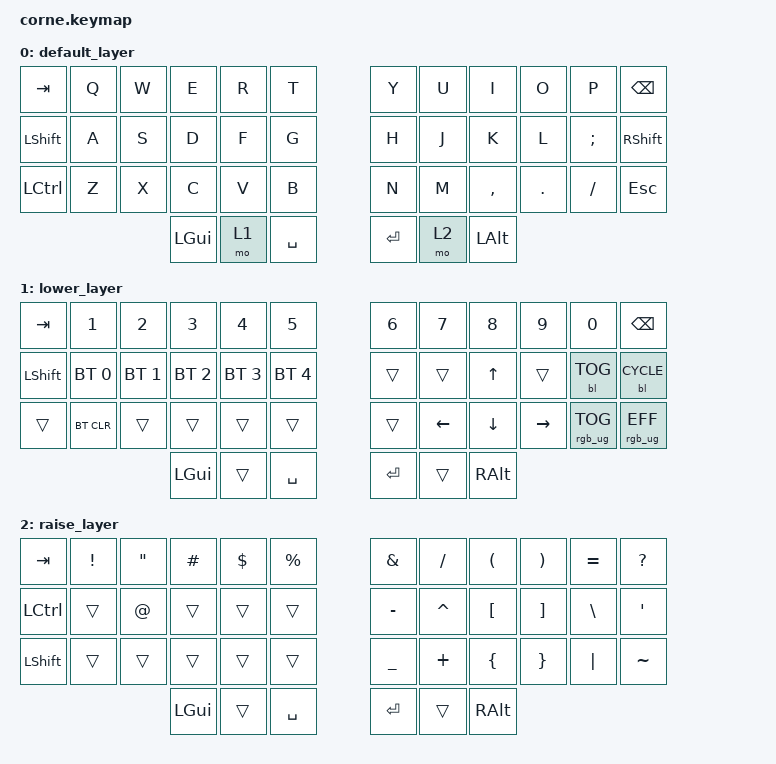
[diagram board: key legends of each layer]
/*
 * Copyright (c) 2020 The ZMK Contributors
 *
 * SPDX-License-Identifier: MIT
 */

#include <behaviors.dtsi>
#include <dt-bindings/zmk/backlight.h>
#include <dt-bindings/zmk/bt.h>
#include <dt-bindings/zmk/keys.h>
#include <dt-bindings/zmk/rgb.h>

/ {
    keymap {
        compatible = "zmk,keymap";

        default_layer {
            // -----------------------------------------------------------------------------------------
            // |  TAB |  Q  |  W  |  E  |  R  |  T  |   |  Y  |  U   |  I  |  O  |  P  | BKSP |
            // | CTRL |  A  |  S  |  D  |  F  |  G  |   |  H  |  J   |  K  |  L  |  ;  |  '   |
            // | SHFT |  Z  |  X  |  C  |  V  |  B  |   |  N  |  M   |  ,  |  .  |  /  | ESC  |
            //                    | GUI | LWR | SPC |   | ENT | RSE  | ALT |

            bindings = <
&kp TAB    &kp Q  &kp W  &kp E     &kp R  &kp T        &kp Y    &kp U  &kp I         &kp O    &kp P     &kp BSPC
&kp LSHFT  &kp A  &kp S  &kp D     &kp F  &kp G        &kp H    &kp J  &kp K         &kp L    &kp SEMI  &kp RIGHT_SHIFT
&kp LCTRL  &kp Z  &kp X  &kp C     &kp V  &kp B        &kp N    &kp M  &kp COMMA     &kp DOT  &kp FSLH  &kp ESC
                         &kp LGUI  &mo 1  &kp SPACE    &kp RET  &mo 2  &kp LEFT_ALT
            >;
        };

        lower_layer {
            // -----------------------------------------------------------------------------------------
            // |  TAB |  1  |  2  |  3  |  4  |  5  |   |  6  |  7  |  8  |  9  |  0  | BKSP |
            // | BTCLR| BT1 | BT2 | BT3 | BT4 | BT5 |   | LFT | DWN |  UP | RGT |     |      |
            // | SHFT |     |     |     |     |     |   |     |     |     |     |     |      |
            //                    | GUI |     | SPC |   | ENT |     | ALT |

            bindings = <
&kp TAB     &kp N1        &kp N2        &kp N3        &kp N4        &kp N5          &kp N6   &kp N7    &kp N8    &kp N9     &kp N0           &kp BSPC
&kp LSHIFT  &bt BT_SEL 0  &bt BT_SEL 1  &bt BT_SEL 2  &bt BT_SEL 3  &bt BT_SEL 4    &trans   &trans    &kp UP    &trans     &bl BL_TOG       &bl BL_CYCLE
&trans      &bt BT_CLR    &trans        &trans        &trans        &trans          &trans   &kp LEFT  &kp DOWN  &kp RIGHT  &rgb_ug RGB_TOG  &rgb_ug RGB_EFF
                                        &kp LGUI      &trans        &kp SPACE       &kp RET  &trans    &kp RALT
            >;
        };

        raise_layer {
            // -----------------------------------------------------------------------------------------
            // |  TAB |  !  |  @  |  #  |  $  |  %  |   |  ^  |  &  |  *  |  (  |  )  | BKSP |
            // | CTRL |     |     |     |     |     |   |  -  |  =  |  [  |  ]  |  \  |  `   |
            // | SHFT |     |     |     |     |     |   |  _  |  +  |  {  |  }  | "|" |  ~   |
            //                    | GUI |     | SPC |   | ENT |     | ALT |

            bindings = <
&kp TAB    &kp EXCL  &kp DOUBLE_QUOTES  &kp HASH  &kp DLLR  &kp PRCNT    &kp AMPERSAND  &kp SLASH  &kp LEFT_PARENTHESIS  &kp RIGHT_PARENTHESIS  &kp EQUAL  &kp QUESTION
&kp LCTRL  &trans    &kp AT             &trans    &trans    &trans       &kp MINUS      &kp CARET  &kp LBKT              &kp RBKT               &kp BSLH   &kp SINGLE_QUOTE
&kp LSHFT  &trans    &trans             &trans    &trans    &trans       &kp UNDER      &kp PLUS   &kp LBRC              &kp RBRC               &kp PIPE   &kp TILDE
                                        &kp LGUI  &trans    &kp SPACE    &kp RET        &trans     &kp RALT
            >;
        };
    };
};
